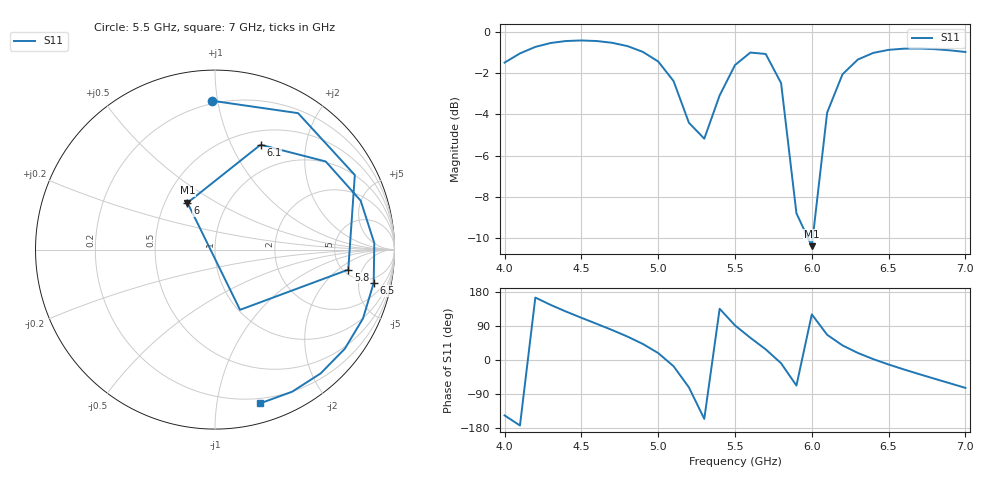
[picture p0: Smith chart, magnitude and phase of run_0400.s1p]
! Touchstone file exported from HFSS 2024.2.0
!  File:  C:/Users/wsak9/Desktop/Sim Fast/Widenad Patch/WP_AI_V1_sweep.aedt
!  Generated:  08:13:33 AM Oct 14, 2026
!  Design:  A1_model
!  Project:  WP_AI_V1_sweep
!  Setup:  Setup1
!  Solution:  Sweep
! Variables:
!  Air_gap = 4.28mm
!  Curve_Amp1 = 3.7
!  Curve_len1 = 1
!  Curve_pos = 10.655mm
!  Extra = 7.95mm
!  H_sub = 0.79mm
!  L_Patch = 17.31mm
!  L_Patch1 = 21.82mm
!  Sx = 1.85mm
!  Sy = 2.02mm
!  WS = 0.65mm
!  W_Patch = 10.49mm
!  W_Patch1 = 13.87mm
!Data is not renormalized
# GHz S MA
! Terminal data exported
! Port[1] = 1
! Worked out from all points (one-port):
!   31 points, 4 GHz to 7 GHz, reference per port
!   lowest |S11| = -10.4 dB at 6 GHz (marker M1), VSWR 1.87
!   |S11| at or under -10 dB: 5.975953 GHz to 6.005915 GHz (29.96 MHz wide, 0.5 % of centre)
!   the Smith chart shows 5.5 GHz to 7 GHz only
!   S11 on the Smith chart (normalised r, x): 5.5 GHz: 0.18, +0.96; 5.8 GHz: 5.54, -2.84; 6 GHz: 0.65, +0.37; 6.1 GHz: 0.66, +1.30; 6.5 GHz: 3.84, -7.75; 7 GHz: 0.16, -1.32
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4  0.8415 -146.3
4.1  0.8857 -172.8
4.2  0.9184 164.8
4.3  0.9387 145.4
4.4  0.949 127.8
4.5  0.952 111.4
4.6  0.9489 95.4
4.7  0.9397 79.1
4.8  0.9225 61.8
4.9  0.8933 42.3
5  0.8467 18.3
5.1  0.7592 -16.5
5.2  0.6018 -72.2
5.3  0.5507 -155.4
5.4  0.7009 135.2
5.5  0.8299 91.3
5.6  0.89 58.7
5.7  0.8829 28.1
5.8  0.7509 -8.6
5.9  0.3634 -67.4
6  0.3026 120.4
6.1  0.6371 66.5
6.2  0.7885 38.5
6.3  0.8561 18.6
6.4  0.8882 2.4
6.5  0.9034 -11.9
6.7  0.91 -37.4
7  0.8928 -73.6
